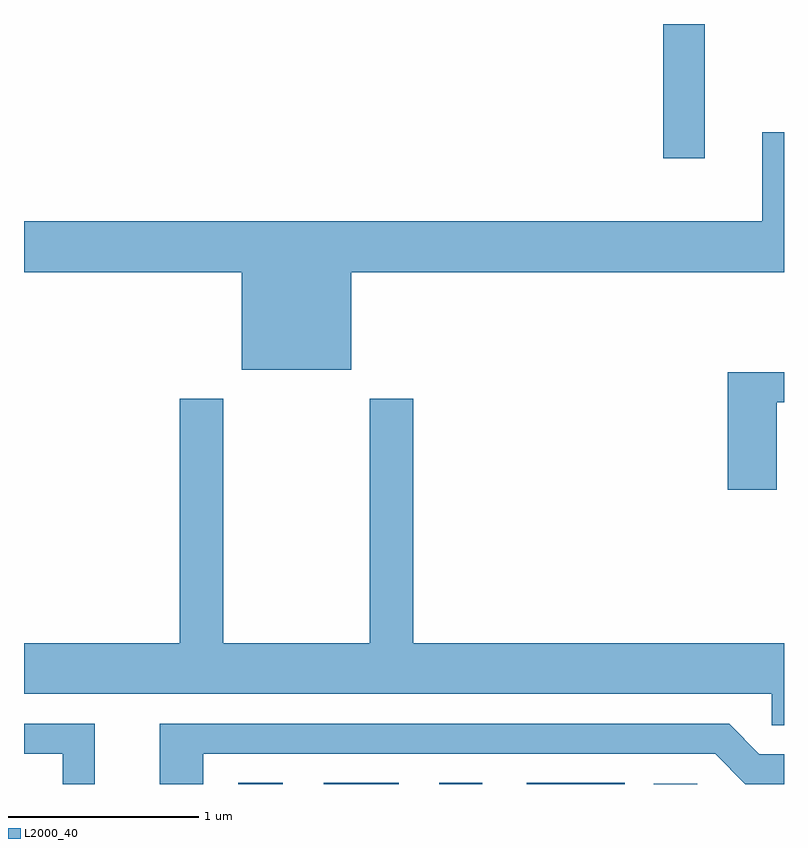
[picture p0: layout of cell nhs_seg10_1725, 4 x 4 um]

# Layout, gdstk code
import gdstk
lib = gdstk.Library(unit=1e-6, precision=1e-09)
def R(c, l, rs):  # rectangles x0, y0, x1, y1
    for r in rs: c.add(gdstk.rectangle(r[:2], r[2:], *l))
def P(c, l, *ps):  # polygons
    for p in ps: c.add(gdstk.Polygon(p, *l))
L2000_40 = (2000, 40)

nhs_seg10_1725 = lib.new_cell('nhs_seg10_1725')
R(nhs_seg10_1725, L2000_40, [(236.738,2144.522,236.974,2144.529), (237.188,2144.522,237.584,2144.529), (237.796,2144.522,238.024,2144.529), (238.256,2144.522,238.774,2144.529), (238.926,2144.522,239.154,2144.524), (238.976,2147.816,239.194,2148.522)])
P(nhs_seg10_1725, L2000_40, [(237.334,2147.216),(239.611,2147.216),(239.611,2147.953),(239.496,2147.953),(239.496,2147.484),(235.611,2147.484),(235.611,2147.216),(236.756,2147.216),(236.756,2146.701),(237.334,2146.701)],
  [(239.574,2146.531),(239.611,2146.531),(239.611,2146.689),(239.316,2146.689),(239.316,2146.071),(239.574,2146.071)],
  [(239.611,2145.264),(237.659,2145.264),(237.659,2146.549),(237.431,2146.549),(237.431,2145.264),(236.659,2145.264),(236.659,2146.549),(236.431,2146.549),(236.431,2145.264),(235.611,2145.264),(235.611,2144.996),(239.546,2144.996),(239.546,2144.831),(239.611,2144.831)],
  [(236.554,2144.681),(239.249,2144.681),(239.408,2144.522),(239.611,2144.522),(239.611,2144.679),(239.482,2144.679),(239.322,2144.839),(236.326,2144.839),(236.326,2144.522),(236.554,2144.522)],
  [(235.984,2144.839),(235.611,2144.839),(235.611,2144.681),(235.816,2144.681),(235.816,2144.522),(235.984,2144.522)])

lib.write_gds('nhs_seg10_1725.gds')
